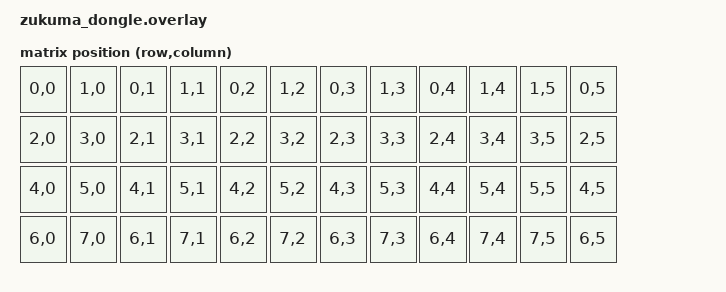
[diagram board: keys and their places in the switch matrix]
#include <dt-bindings/zmk/matrix_transform.h>

/ {
	chosen {
		zmk,physical-layout = &physical_layout0;
        zephyr,display = &oled;
	};

    physical_layout0: physical_layout_0 { 
        compatible = "zmk,physical-layout";
        display-name = "Default Layout";
        kscan = <&mock_kscan>; 
        transform = <&default_transform>; 
    };

	default_transform: keymap_transform_0 {
		compatible = "zmk,matrix-transform";
		columns = <6>;
		rows = <8>;
		map = <
		RC(0,0) RC(1,0) RC(0,1) RC(1,1) RC(0,2) RC(1,2) RC(0,3) RC(1,3) RC(0,4) RC(1,4) RC(1,5) RC(0,5) 
		RC(2,0) RC(3,0) RC(2,1) RC(3,1) RC(2,2) RC(3,2) RC(2,3) RC(3,3) RC(2,4) RC(3,4) RC(3,5) RC(2,5) 
		RC(4,0) RC(5,0) RC(4,1) RC(5,1) RC(4,2) RC(5,2) RC(4,3) RC(5,3) RC(4,4) RC(5,4) RC(5,5) RC(4,5) 
		RC(6,0) RC(7,0) RC(6,1) RC(7,1) RC(6,2) RC(7,2) RC(6,3) RC(7,3) RC(6,4) RC(7,4) RC(7,5) RC(6,5) 
		>;
	};

    mock_kscan: kscan_0 {
        compatible = "zmk,kscan-mock";
        columns = <0>;
        rows = <0>;
        events = <0>;
    };
};

&xiao_i2c {
    status = "okay";
    
    oled: ssd1306@3c {
        compatible = "solomon,ssd1306fb";
        reg = <0x3c>;
        width = <128>;
        height = <32>;
        segment-offset = <0>;
        page-offset = <0>;
        display-offset = <0>;
        multiplex-ratio = <63>;
        segment-remap;
        com-invdir;
        inversion-on;
        prechargep = <0x22>;
    };
}; 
